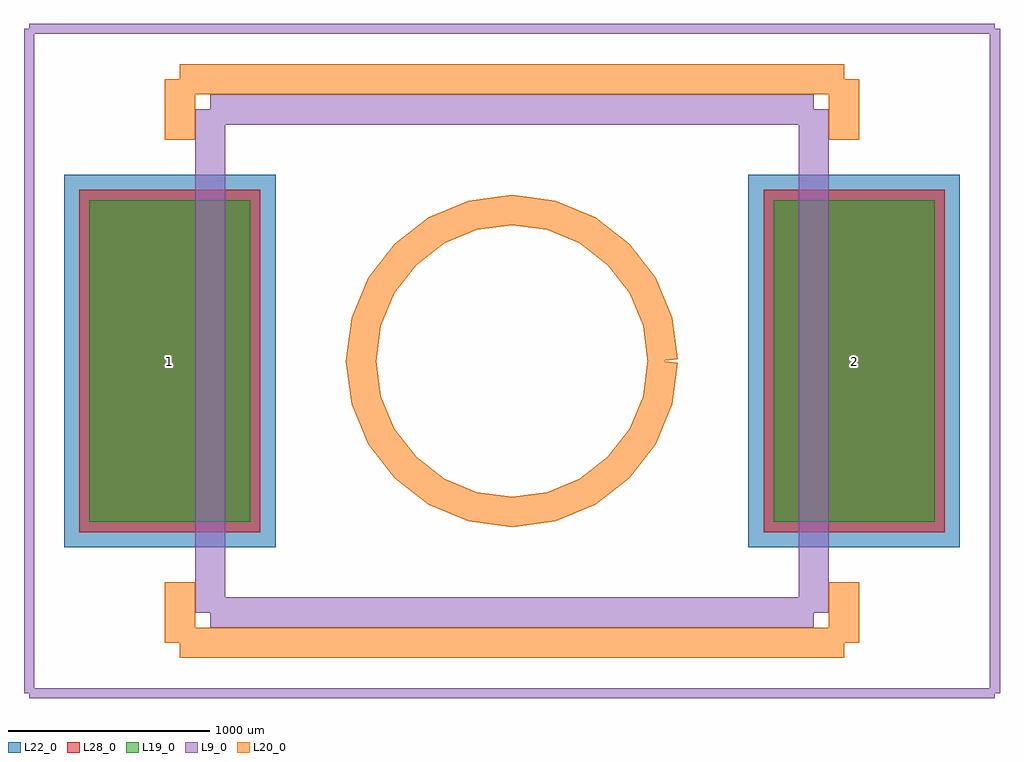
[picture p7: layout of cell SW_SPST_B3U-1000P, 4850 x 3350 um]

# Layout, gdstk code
import gdstk
lib = gdstk.Library(unit=1e-6, precision=1e-09)
def R(c, l, rs):  # rectangles x0, y0, x1, y1
    for r in rs: c.add(gdstk.rectangle(r[:2], r[2:], *l))
L9_0 = (9, 0)
L19_0 = (19, 0)
L20_0 = (20, 0)
L22_0 = (22, 0)
L28_0 = (28, 0)

sw_spst_b3u_1000p = lib.new_cell('SW_SPST_B3U-1000P')
R(sw_spst_b3u_1000p, L19_0, [(-2100,-800,-1300,800), (1300,-800,2100,800)])
R(sw_spst_b3u_1000p, L22_0, [(-2225,-925,-1175,925), (1175,-925,2225,925)])
R(sw_spst_b3u_1000p, L28_0, [(-2150,-850,-1250,850), (1250,-850,2150,850)])
sw_spst_b3u_1000p.add(gdstk.FlexPath([(-1500,-1250),(-1500,1250)], 149.998, ends="flush", simple_path=True, layer=9, datatype=0))  # L9_0
sw_spst_b3u_1000p.add(gdstk.FlexPath([(1500,-1250),(-1500,-1250)], 149.998, ends="flush", simple_path=True, layer=9, datatype=0))  # L9_0
sw_spst_b3u_1000p.add(gdstk.FlexPath([(1500,1250),(1500,-1250)], 149.998, ends="flush", simple_path=True, layer=9, datatype=0))  # L9_0
sw_spst_b3u_1000p.add(gdstk.FlexPath([(-1500,1250),(1500,1250)], 149.998, ends="flush", simple_path=True, layer=9, datatype=0))  # L9_0
sw_spst_b3u_1000p.add(gdstk.FlexPath([(1650,1400),(1650,1100)], 149.998, ends="flush", simple_path=True, layer=20, datatype=0))  # L20_0
sw_spst_b3u_1000p.add(gdstk.FlexPath([(-1650,1400),(1650,1400)], 149.998, ends="flush", simple_path=True, layer=20, datatype=0))  # L20_0
sw_spst_b3u_1000p.add(gdstk.FlexPath([(-1650,1100),(-1650,1400)], 149.998, ends="flush", simple_path=True, layer=20, datatype=0))  # L20_0
sw_spst_b3u_1000p.add(gdstk.FlexPath([(1650,-1400),(1650,-1100)], 149.998, ends="flush", simple_path=True, layer=20, datatype=0))  # L20_0
sw_spst_b3u_1000p.add(gdstk.FlexPath([(-1650,-1400),(1650,-1400)], 149.998, ends="flush", simple_path=True, layer=20, datatype=0))  # L20_0
sw_spst_b3u_1000p.add(gdstk.FlexPath([(-1650,-1100),(-1650,-1400)], 149.998, ends="flush", simple_path=True, layer=20, datatype=0))  # L20_0
sw_spst_b3u_1000p.add(gdstk.FlexPath([(750,0),(724.444,194.114),(649.519,375),(530.33,530.33),(375,649.519),(194.114,724.444),(0,750),(-194.114,724.444),(-375,649.519),(-530.33,530.33),(-649.519,375),(-724.444,194.114),(-750,0),(-724.444,-194.114),(-649.519,-375),(-530.33,-530.33),(-375,-649.519),(-194.114,-724.444),(0,-750),(194.114,-724.444),(375,-649.519),(530.33,-530.33),(649.519,-375),(724.444,-194.114),(750,0)], 149.998, ends="flush", simple_path=True, layer=20, datatype=0))  # L20_0
sw_spst_b3u_1000p.add(gdstk.FlexPath([(-2400,1650),(-2400,-1650)], 50, ends="flush", simple_path=True, layer=9, datatype=0))  # L9_0
sw_spst_b3u_1000p.add(gdstk.FlexPath([(2400,1650),(-2400,1650)], 50, ends="flush", simple_path=True, layer=9, datatype=0))  # L9_0
sw_spst_b3u_1000p.add(gdstk.FlexPath([(2400,-1650),(2400,1650)], 50, ends="flush", simple_path=True, layer=9, datatype=0))  # L9_0
sw_spst_b3u_1000p.add(gdstk.FlexPath([(-2400,-1650),(2400,-1650)], 50, ends="flush", simple_path=True, layer=9, datatype=0))  # L9_0
sw_spst_b3u_1000p.add(gdstk.Label('2', (1700,0), layer=28, texttype=0))
sw_spst_b3u_1000p.add(gdstk.Label('1', (-1700,0), layer=28, texttype=0))
sw_spst_b3u_1000p.add(gdstk.Label('type', (0,-2500), layer=9, texttype=0))
sw_spst_b3u_1000p.add(gdstk.Label('devicename', (0,2500), layer=9, texttype=0))

lib.write_gds('SW_SPST_B3U-1000P.gds')
